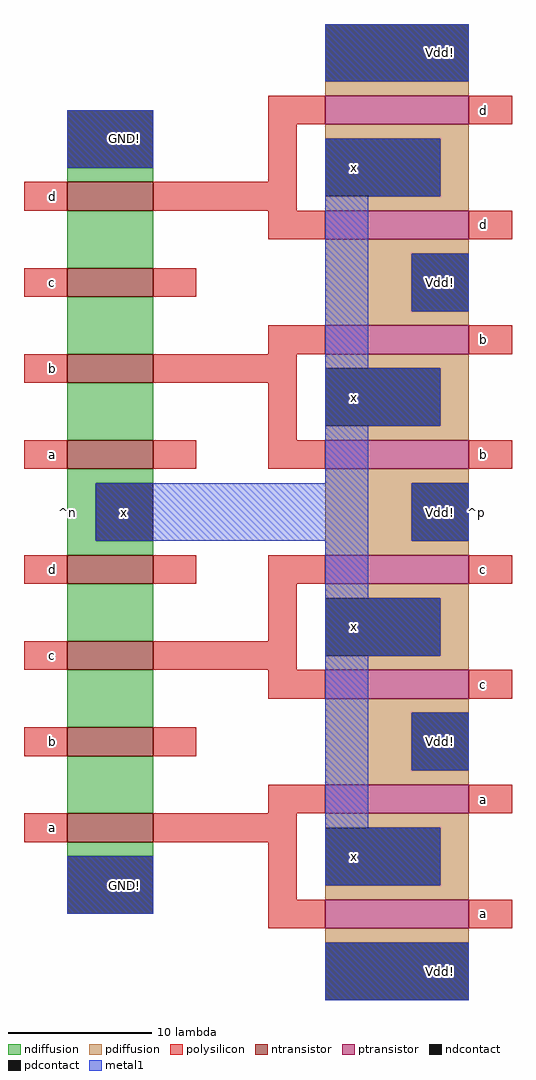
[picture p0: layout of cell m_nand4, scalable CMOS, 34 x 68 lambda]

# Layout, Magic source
magic
tech scmos
<< ndiffusion >>
rect -217 -713 -211 -712
rect -217 -719 -211 -715
rect -217 -725 -211 -721
rect -217 -731 -211 -727
rect -217 -734 -211 -733
rect -217 -738 -215 -734
rect -217 -739 -211 -738
rect -217 -745 -211 -741
rect -217 -751 -211 -747
rect -217 -757 -211 -753
rect -217 -760 -211 -759
<< pdiffusion >>
rect -199 -707 -189 -706
rect -199 -710 -189 -709
rect -191 -714 -189 -710
rect -199 -715 -189 -714
rect -199 -718 -189 -717
rect -199 -722 -193 -718
rect -199 -723 -189 -722
rect -199 -726 -189 -725
rect -191 -730 -189 -726
rect -199 -731 -189 -730
rect -199 -734 -189 -733
rect -199 -738 -193 -734
rect -199 -739 -189 -738
rect -199 -742 -189 -741
rect -191 -746 -189 -742
rect -199 -747 -189 -746
rect -199 -750 -189 -749
rect -199 -754 -193 -750
rect -199 -755 -189 -754
rect -199 -758 -189 -757
rect -191 -762 -189 -758
rect -199 -763 -189 -762
rect -199 -766 -189 -765
<< ntransistor >>
rect -217 -715 -211 -713
rect -217 -721 -211 -719
rect -217 -727 -211 -725
rect -217 -733 -211 -731
rect -217 -741 -211 -739
rect -217 -747 -211 -745
rect -217 -753 -211 -751
rect -217 -759 -211 -757
<< ptransistor >>
rect -199 -709 -189 -707
rect -199 -717 -189 -715
rect -199 -725 -189 -723
rect -199 -733 -189 -731
rect -199 -741 -189 -739
rect -199 -749 -189 -747
rect -199 -757 -189 -755
rect -199 -765 -189 -763
<< polysilicon >>
rect -203 -709 -199 -707
rect -189 -709 -186 -707
rect -203 -713 -201 -709
rect -220 -715 -217 -713
rect -211 -715 -201 -713
rect -203 -717 -199 -715
rect -189 -717 -186 -715
rect -220 -721 -217 -719
rect -211 -721 -208 -719
rect -203 -725 -199 -723
rect -189 -725 -186 -723
rect -220 -727 -217 -725
rect -211 -727 -201 -725
rect -203 -731 -201 -727
rect -220 -733 -217 -731
rect -211 -733 -208 -731
rect -203 -733 -199 -731
rect -189 -733 -186 -731
rect -220 -741 -217 -739
rect -211 -741 -208 -739
rect -203 -741 -199 -739
rect -189 -741 -186 -739
rect -203 -745 -201 -741
rect -220 -747 -217 -745
rect -211 -747 -201 -745
rect -203 -749 -199 -747
rect -189 -749 -186 -747
rect -220 -753 -217 -751
rect -211 -753 -208 -751
rect -203 -757 -199 -755
rect -189 -757 -186 -755
rect -220 -759 -217 -757
rect -211 -759 -201 -757
rect -203 -763 -201 -759
rect -203 -765 -199 -763
rect -189 -765 -186 -763
<< ndcontact >>
rect -217 -712 -211 -708
rect -215 -738 -211 -734
rect -217 -764 -211 -760
<< pdcontact >>
rect -199 -706 -189 -702
rect -199 -714 -191 -710
rect -193 -722 -189 -718
rect -199 -730 -191 -726
rect -193 -738 -189 -734
rect -199 -746 -191 -742
rect -193 -754 -189 -750
rect -199 -762 -191 -758
rect -199 -770 -189 -766
<< metal1 >>
rect -199 -706 -189 -702
rect -217 -712 -211 -708
rect -199 -714 -191 -710
rect -199 -726 -196 -714
rect -193 -722 -189 -718
rect -199 -730 -191 -726
rect -199 -734 -196 -730
rect -215 -738 -196 -734
rect -193 -738 -189 -734
rect -199 -742 -196 -738
rect -199 -746 -191 -742
rect -199 -758 -196 -746
rect -193 -754 -189 -750
rect -217 -764 -211 -760
rect -199 -762 -191 -758
rect -199 -770 -189 -766
<< labels >>
rlabel space -220 -765 -214 -707 7 ^n
rlabel polysilicon -218 -758 -218 -758 3 a
rlabel polysilicon -218 -714 -218 -714 3 d
rlabel polysilicon -218 -752 -218 -752 3 b
rlabel polysilicon -218 -746 -218 -746 3 c
rlabel polysilicon -218 -732 -218 -732 3 a
rlabel polysilicon -218 -740 -218 -740 3 d
rlabel polysilicon -218 -726 -218 -726 3 b
rlabel polysilicon -218 -720 -218 -720 3 c
rlabel polysilicon -188 -716 -188 -716 7 d
rlabel polysilicon -188 -708 -188 -708 7 d
rlabel polysilicon -188 -732 -188 -732 7 b
rlabel polysilicon -188 -724 -188 -724 7 b
rlabel polysilicon -188 -740 -188 -740 7 c
rlabel polysilicon -188 -748 -188 -748 7 c
rlabel polysilicon -188 -764 -188 -764 7 a
rlabel polysilicon -188 -756 -188 -756 7 a
rlabel space -192 -771 -185 -701 3 ^p
rlabel ndcontact -213 -710 -213 -710 5 GND!
rlabel ndcontact -213 -736 -213 -736 1 x
rlabel ndcontact -213 -762 -213 -762 1 GND!
rlabel pdcontact -197 -760 -197 -760 1 x
rlabel pdcontact -197 -744 -197 -744 1 x
rlabel pdcontact -197 -728 -197 -728 1 x
rlabel pdcontact -197 -712 -197 -712 1 x
rlabel pdcontact -191 -720 -191 -720 1 Vdd!
rlabel pdcontact -191 -736 -191 -736 1 Vdd!
rlabel pdcontact -191 -752 -191 -752 1 Vdd!
rlabel pdcontact -191 -768 -191 -768 1 Vdd!
rlabel pdcontact -191 -704 -191 -704 1 Vdd!
<< end >>
